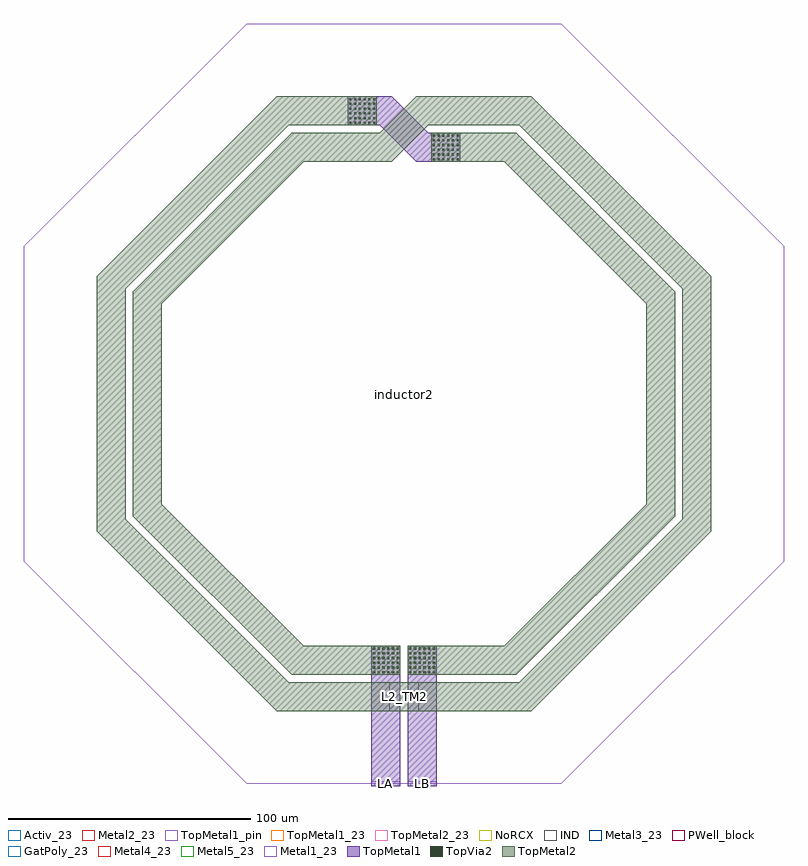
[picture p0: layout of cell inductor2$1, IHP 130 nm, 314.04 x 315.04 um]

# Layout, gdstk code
import gdstk
lib = gdstk.Library(unit=1e-6, precision=1e-09)
def R(c, l, rs):  # rectangles x0, y0, x1, y1
    for r in rs: c.add(gdstk.rectangle(r[:2], r[2:], *l))
def A(c, l, x, y, w, h, nx, ny, dx, dy):  # array of equal rectangles
    R(c, l, [(x+i*dx, y+j*dy, x+i*dx+w, y+j*dy+h) for i in range(nx) for j in range(ny)])
def P(c, l, *ps):  # polygons
    for p in ps: c.add(gdstk.Polygon(p, *l))
Activ_23 = (1, 23)
GatPoly_23 = (5, 23)
Metal1_23 = (8, 23)
Metal2_23 = (10, 23)
IND = (27, 0)
Metal3_23 = (30, 23)
PWell_block = (46, 21)
Metal4_23 = (50, 23)
Metal5_23 = (67, 23)
TopMetal1 = (126, 0)
TopMetal1_pin = (126, 2)
TopMetal1_23 = (126, 23)
TopVia2 = (133, 0)
TopMetal2 = (134, 0)
TopMetal2_23 = (134, 23)
NoRCX = (148, 0)

inductor2_1 = lib.new_cell('inductor2$1')
P(inductor2_1, Activ_23, [(-65.035,0),(-157.02,91.985),(-157.02,222.055),(-65.035,314.04),(65.035,314.04),(157.02,222.055),(157.02,91.985),(65.035,0)])
P(inductor2_1, GatPoly_23, [(-65.035,0),(-157.02,91.985),(-157.02,222.055),(-65.035,314.04),(65.035,314.04),(157.02,222.055),(157.02,91.985),(65.035,0)])
P(inductor2_1, Metal1_23, [(-65.035,0),(-157.02,91.985),(-157.02,222.055),(-65.035,314.04),(65.035,314.04),(157.02,222.055),(157.02,91.985),(65.035,0)])
P(inductor2_1, Metal2_23, [(-65.035,0),(-157.02,91.985),(-157.02,222.055),(-65.035,314.04),(65.035,314.04),(157.02,222.055),(157.02,91.985),(65.035,0)])
R(inductor2_1, IND, [(-6.01,29.99,6.01,42.01)])
P(inductor2_1, Metal3_23, [(-65.035,0),(-157.02,91.985),(-157.02,222.055),(-65.035,314.04),(65.035,314.04),(157.02,222.055),(157.02,91.985),(65.035,0)])
P(inductor2_1, PWell_block, [(-65.035,0),(-157.02,91.985),(-157.02,222.055),(-65.035,314.04),(65.035,314.04),(157.02,222.055),(157.02,91.985),(65.035,0)])
P(inductor2_1, Metal4_23, [(-65.035,0),(-157.02,91.985),(-157.02,222.055),(-65.035,314.04),(65.035,314.04),(157.02,222.055),(157.02,91.985),(65.035,0)])
P(inductor2_1, Metal5_23, [(-65.035,0),(-157.02,91.985),(-157.02,222.055),(-65.035,314.04),(65.035,314.04),(157.02,222.055),(157.02,91.985),(65.035,0)])
P(inductor2_1, TopMetal1, [(5.035,257),(-9.985,272.02),(-23.245,272.02),(-23.245,284.02),(-5.035,284.02),(9.985,269),(23.245,269),(23.245,257)])
R(inductor2_1, TopMetal1_pin, [(-13.5,-1,-1.5,1), (1.5,-1,13.5,1)])
P(inductor2_1, TopMetal1_23, [(-65.035,0),(-157.02,91.985),(-157.02,222.055),(-65.035,314.04),(65.035,314.04),(157.02,222.055),(157.02,91.985),(65.035,0)])
A(inductor2_1, TopVia2, -12.85, 45.65, 0.9, 0.9, 6, 6, 1.96, 1.96)
A(inductor2_1, TopVia2, 2.15, 45.65, 0.9, 0.9, 6, 6, 1.96, 1.96)
A(inductor2_1, TopVia2, 11.895, 257.65, 0.9, 0.9, 6, 6, 1.96, 1.96)
A(inductor2_1, TopVia2, -22.595, 272.65, 0.9, 0.9, 6, 6, 1.96, 1.96)
R(inductor2_1, TopMetal2, [(-11.245,30,11.245,42)])
P(inductor2_1, TopMetal2, [(1.5,45),(1.5,57),(41.42,57),(100,115.58),(100,198.42),(41.42,257),(11.245,257),(11.245,269),(46.4,269),(112,203.4),(112,110.6),(46.4,45)],
  [(-46.4,45),(-112,110.6),(-112,203.4),(-46.4,269),(-11.245,269),(-11.245,257),(-41.42,257),(-100,198.42),(-100,115.58),(-41.42,57),(-1.5,57),(-1.5,45)],
  [(-11.245,257),(-11.245,269),(-9.985,269),(5.035,284.02),(11.245,284.02),(11.245,272.02),(10.015,272.02),(-5.005,257)],
  [(11.245,30),(11.245,42),(47.635,42),(115.01,109.375),(115.01,204.645),(47.635,272.02),(11.245,272.02),(11.245,284.02),(52.615,284.02),(127.01,209.625),(127.01,104.395),(52.615,30)],
  [(-52.615,30),(-127.01,104.395),(-127.01,209.625),(-52.615,284.02),(-11.245,284.02),(-11.245,272.02),(-47.635,272.02),(-115.01,204.645),(-115.01,109.375),(-47.635,42),(-11.245,42),(-11.245,30)])
P(inductor2_1, TopMetal2_23, [(-65.035,0),(-157.02,91.985),(-157.02,222.055),(-65.035,314.04),(65.035,314.04),(157.02,222.055),(157.02,91.985),(65.035,0)])
P(inductor2_1, NoRCX, [(-65.035,0),(-157.02,91.985),(-157.02,222.055),(-65.035,314.04),(65.035,314.04),(157.02,222.055),(157.02,91.985),(65.035,0)])
inductor2_1.add(gdstk.FlexPath([(7.5,-1),(7.5,57)], 12, ends="flush", simple_path=True, layer=126, datatype=0))  # TopMetal1
inductor2_1.add(gdstk.FlexPath([(-7.5,-1),(-7.5,57)], 12, ends="flush", simple_path=True, layer=126, datatype=0))  # TopMetal1
inductor2_1.add(gdstk.Label('L2_TM2', (0,36), layer=63, texttype=0))
inductor2_1.add(gdstk.Label('LB', (7.5,0), layer=63, texttype=0))
inductor2_1.add(gdstk.Label('LA', (-7.5,0), layer=63, texttype=0))
inductor2_1.add(gdstk.Label('inductor2', (0,160.793), layer=63, texttype=0))

lib.write_gds('inductor2_1.gds')
